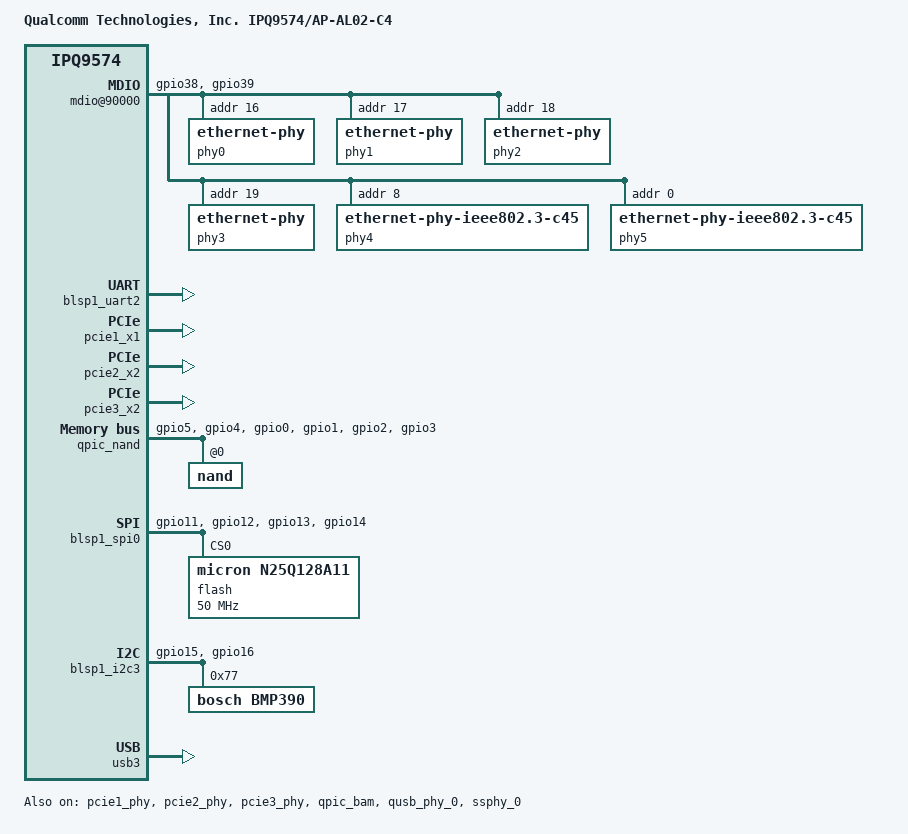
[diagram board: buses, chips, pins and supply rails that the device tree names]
// SPDX-License-Identifier: (GPL-2.0+ OR BSD-3-Clause)
/*
 * IPQ9574 AL02-C4 board device tree source
 *
 * Copyright (c) 2020-2021 The Linux Foundation. All rights reserved.
 * Copyright (c) 2021-2023 Qualcomm Innovation Center, Inc. All rights reserved.
 */

/dts-v1/;

#include <dt-bindings/gpio/gpio.h>
#include "ipq9574.dtsi"

/ {
	model = "Qualcomm Technologies, Inc. IPQ9574/AP-AL02-C4";
	compatible = "qcom,ipq9574-ap-al02-c4", "qcom,ipq9574";

	aliases {
		serial0 = &blsp1_uart2;
	};

	chosen {
		stdout-path = "serial0:115200n8";
	};

	soc@0 {
		mdio@90000 {
			pinctrl-0 = <&mdio_pins>;
			pinctrl-names = "default";
			/*gpio60 for malibu reset, gpio36 for both aqr reset reserved */
			phy-reset-gpio = <&tlmm 60 GPIO_ACTIVE_LOW>;
			status = "okay";

			phy0: ethernet-phy@0 {
				reg = <16>;
			};
			phy1: ethernet-phy@1 {
				reg = <17>;
			};
			phy2: ethernet-phy@2 {
				reg = <18>;
			};
			phy3: ethernet-phy@3 {
				reg = <19>;
			};
			phy4: ethernet-phy@4 {
				compatible ="ethernet-phy-ieee802.3-c45";
				reg = <8>;
			};
			phy5: ethernet-phy@5 {
				compatible ="ethernet-phy-ieee802.3-c45";
				reg = <0>;
			};
		};

		ess-instance {
			num_devices = <0x1>;
			ess-switch@3a000000 {
				switch_cpu_bmp = <0x1>;  /* cpu port bitmap */
				switch_lan_bmp = <0x3e>; /* lan port bitmap */
				switch_wan_bmp = <0x40>; /* wan port bitmap */
				switch_mac_mode = <0x0>; /* mac mode for uniphy instance0*/
				switch_mac_mode1 = <0xd>; /* mac mode for uniphy instance1*/
				switch_mac_mode2 = <0xd>; /* mac mode for uniphy instance2*/
				bm_tick_mode = <0>; /* bm tick mode */
				tm_tick_mode = <0>; /* tm tick mode */

				qcom,port_phyinfo {
					port@0 {
						port_id = <1>;
						phy_address = <16>;
					};
					port@1 {
						port_id = <2>;
						phy_address = <17>;
					};
					port@2 {
						port_id = <3>;
						phy_address = <18>;
					};
					port@3 {
						port_id = <4>;
						phy_address = <19>;
					};
					port@4 {
						port_id = <5>;
						phy_address = <8>;
						ethernet-phy-ieee802.3-c45;
					};
					port@5 {
						port_id = <6>;
						phy_address = <0>;
						ethernet-phy-ieee802.3-c45;
					};
				};

			};
		};
	};
};

&blsp1_uart2 {
	pinctrl-0 = <&uart2_pins>;
	pinctrl-names = "default";
	status = "okay";
};

&pcie1_phy {
	status = "okay";
};

&pcie1_x1 {
	perst-gpios = <&tlmm 26 GPIO_ACTIVE_LOW>;
	status = "okay";
};

&pcie2_phy {
	status = "okay";
};

&pcie2_x2 {
	perst-gpios = <&tlmm 29 GPIO_ACTIVE_LOW>;
	status = "okay";
};

&pcie3_phy {
	status = "okay";
};

&pcie3_x2 {
	perst-gpios = <&tlmm 32 GPIO_ACTIVE_LOW>;
	status = "okay";
};

&qpic_bam {
	status = "ok";
};

&qpic_nand {
	status = "ok";
	pinctrl-0 = <&qspi_nand_pins>;
	pinctrl-names = "default";
	qcom,io_macro_max_clk = <320000000>;
	qcom,io_macro_clk_rates = <24000000 100000000 200000000 \
				   320000000>;
	nand@0 {
		reg = <0>;
		#address-cells = <1>;
		#size-cells = <1>;
		nand-ecc-strength = <4>;
		nand-ecc-step-size = <512>;
		nand-bus-width = <8>;
	};
};

&qusb_phy_0 {
	status = "okay";
};

&blsp1_spi0 {
	pinctrl-0 = <&spi_0_pins>;
	pinctrl-names = "default";
	status = "okay";

	flash@0 {
		compatible = "micron,n25q128a11", "jedec,spi-nor";
		reg = <0>;
		#address-cells = <1>;
		#size-cells = <1>;
		spi-max-frequency = <50000000>;
	};
};

&sdhc_1 {
	pinctrl-0 = <&sdc_default_state>;
	pinctrl-names = "default";
	mmc-ddr-1_8v;
	mmc-hs200-1_8v;
	mmc-hs400-1_8v;
	mmc-hs400-enhanced-strobe;
	max-frequency = <384000000>;
	bus-width = <8>;
	status = "disabled";
};

&blsp1_i2c3 {
	pinctrl-0 = <&i2c_3_pins>;
	pinctrl-names = "default";
	status = "okay";

	bmp390@77 {
		compatible = "bosch,bmp390";
		reg = <0x77>;
	};
};

&sleep_clk {
	clock-frequency = <32000>;
};

&ssphy_0 {
	status = "okay";
};

&rpm_requests {
	regulators {
		compatible = "qcom,rpm-mp5496-regulators";

		ipq9574_s1: s1 {
		/*
		 * During kernel bootup, the SoC runs at 800MHz with 875mV set by the bootloaders.
		 * During regulator registration, kernel not knowing the initial voltage,
		 * considers it as zero and brings up the regulators with minimum supported voltage.
		 * Updating the regulator-min-microvolt with SVS voltage of 725000uV so that
		 * the regulators are brought up with 725000uV which is sufficient for all the
		 * corner parts to operate at 800MHz
		 */
			regulator-min-microvolt = <725000>;
			regulator-max-microvolt = <1075000>;
		};
	};
};

&tlmm {
	qspi_nand_pins: qspi_nand_pins {
		qspi_clock {
			pins = "gpio5";
			function = "qspi_clk";
			drive-strength = <8>;
			bias-disable;
		};

		qspi_cs {
			pins = "gpio4";
			function = "qspi_cs";
			drive-strength = <8>;
			bias-disable;
		};

		qspi_data {
			pins = "gpio0", "gpio1", "gpio2", "gpio3";
			function = "qspi_data";
			drive-strength = <8>;
			bias-disable;
		};
	};

	i2c_3_pins: i2c-3-pins {
		pins = "gpio15", "gpio16";
		function = "blsp3_i2c";
		drive-strength = <8>;
		bias-disable;
	};

	sdc_default_state: sdc-default-state {
		clk-pins {
			pins = "gpio5";
			function = "sdc_clk";
			drive-strength = <8>;
			bias-disable;
		};

		cmd-pins {
			pins = "gpio4";
			function = "sdc_cmd";
			drive-strength = <8>;
			bias-pull-up;
		};

		data-pins {
			pins = "gpio0", "gpio1", "gpio2",
			       "gpio3", "gpio6", "gpio7",
			       "gpio8", "gpio9";
			function = "sdc_data";
			drive-strength = <8>;
			bias-pull-up;
		};

		rclk-pins {
			pins = "gpio10";
			function = "sdc_rclk";
			drive-strength = <8>;
			bias-pull-down;
		};
	};

	spi_0_pins: spi-0-state {
		pins = "gpio11", "gpio12", "gpio13", "gpio14";
		function = "blsp0_spi";
		drive-strength = <8>;
		bias-disable;
	};

	mdio_pins: mdio-state {
		mux_0 {
			pins = "gpio38";
			function = "mdc";
			drive-strength = <8>;
			bias-disable;
		};
		mux_1 {
			pins = "gpio39";
			function = "mdio";
			drive-strength = <8>;
			bias-pull-up;
		};
	};
};

&usb3 {
	status = "okay";
};

&xo_board_clk {
	clock-frequency = <24000000>;
};

